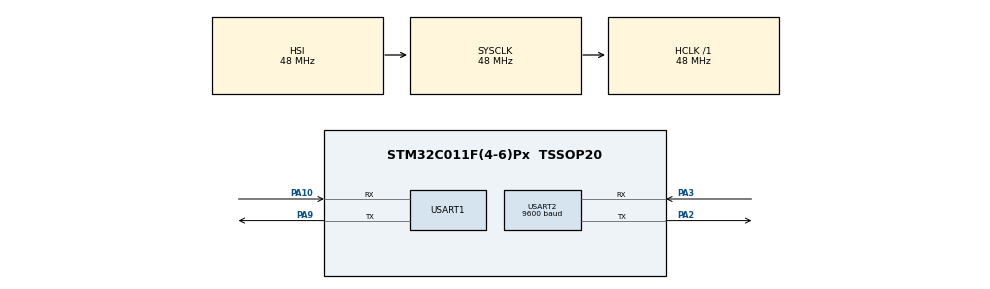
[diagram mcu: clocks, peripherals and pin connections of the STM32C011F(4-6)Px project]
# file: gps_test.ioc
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Mcu.Family=STM32C0
Mcu.Name=STM32C011F(4-6)Px
Mcu.Package=TSSOP20
NVIC.USART2_IRQn=true\:0\:0\:false\:false\:true\:true\:true\:true
PA10\ [PA12].Mode=Asynchronous
PA10\ [PA12].Signal=USART1_RX
PA13.Mode=Serial_Wire
PA13.Signal=DEBUG_SWDIO
PA14-BOOT0.Mode=Serial_Wire
PA14-BOOT0.Signal=DEBUG_SWCLK
PA2.Mode=Asynchronous
PA2.Signal=USART2_TX
PA3.Mode=Asynchronous
PA3.Signal=USART2_RX
PA9\ [PA11].Mode=Asynchronous
PA9\ [PA11].Signal=USART1_TX
ProjectManager.HeapSize=0x200
ProjectManager.StackSize=0x400
ProjectManager.TargetToolchain=STM32CubeIDE
RCC.ADCFreq_Value=48000000
RCC.AHBFreq_Value=48000000
RCC.CortexFreq_Value=48000000
RCC.EXTERNAL_CLOCK_VALUE=12288000
RCC.HCLKFreq_Value=48000000
RCC.HSE_VALUE=8000000
RCC.HSISYSCLKDivider=RCC_HSI_DIV1
RCC.HSI_VALUE=48000000
RCC.LSE_VALUE=32768
RCC.SYSCLKFreq_VALUE=48000000
USART1.VirtualMode-Asynchronous=VM_ASYNC
USART2.BaudRate=9600
USART2.VirtualMode-Asynchronous=VM_ASYNC
VP_SYS_VS_PINREMAP.Mode=PINREMAP
VP_SYS_VS_PINREMAP_10_12.Mode=PINREMAP_10_12
board=custom

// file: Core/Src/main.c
/* USER CODE BEGIN Header */
/**
  ******************************************************************************
  * @file           : main.c
  * @brief          : Main program body
  ******************************************************************************
  * @attention
  *
  * Copyright (c) 2024 STMicroelectronics.
  * All rights reserved.
  *
  * This software is licensed under terms that can be found in the LICENSE file
  * in the root directory of this software component.
  * If no LICENSE file comes with this software, it is provided AS-IS.
  *
  ******************************************************************************
  */
/* USER CODE END Header */
#include "main.h"

/* USER CODE BEGIN Includes */
#include "string.h"
#include "stdio.h"
#include "stdint.h"
/* USER CODE END Includes */

UART_HandleTypeDef huart1;
UART_HandleTypeDef huart2;

/* USER CODE BEGIN PV */
#define BUFFER_SIZE 256
uint8_t bufferRecepcao[BUFFER_SIZE]; // Buffer para armazenar dados recebidos
uint8_t dadoRecebido; // Variável para armazenar um único byte recebido
uint16_t indiceBuffer = 0; // �?ndice para o buffer de recepção
char bufferTransmissao[BUFFER_SIZE]; // Buffer para armazenar dados a serem transmitidos

typedef struct {
    uint8_t latitudeInteira; // Parte inteira da latitude
    uint8_t latitudeDecimal; // Parte decimal da latitude
    uint8_t longitudeInteira; // Parte inteira da longitude
    uint8_t longitudeDecimal; // Parte decimal da longitude
    char altitude[8]; // Altitude (tamanho ajustado para suportar a string de altitude)
} DadosGPS;

/* USER CODE END PV */

void SystemClock_Config(void);
static void MX_GPIO_Init(void);
static void MX_USART1_UART_Init(void);
static void MX_USART2_UART_Init(void);

/* USER CODE BEGIN 0 */

/* Função para analisar a sentença GPGGA do GPS e preencher a estrutura de dados */
void analisarGPGGA(char* sentenca, DadosGPS* dados) {
    char* token;
    int indiceCampo = 0;
    token = strtok(sentenca, ",");
    while (token != NULL) {
        switch (indiceCampo) {
            case 2:
                // Convertendo latitude para graus decimais
                dados->latitudeInteira = atoi(token) / 100;
                dados->latitudeDecimal = atoi(token) % 100;
                break;
            case 4:
                // Convertendo longitude para graus decimais
                dados->longitudeInteira = atoi(token) / 100;
                dados->longitudeDecimal = atoi(token) % 100;
                break;
            case 9:
                strncpy(dados->altitude, token, sizeof(dados->altitude) - 1);
                dados->altitude[sizeof(dados->altitude) - 1] = '\0'; // Assegura terminação nula
                break;
        }
        token = strtok(NULL, ",");
        indiceCampo++;
    }
}

/* Função para processar os dados do GPS */
void processarDadosGPS(char* dadosGPS) {
    if (strncmp(dadosGPS, "$GPGGA", 6) == 0) {
        DadosGPS dados;
        analisarGPGGA(dadosGPS, &dados);

        // Formata os dados para o buffer de transmissão
        sprintf(bufferTransmissao, "Latitude: %d.%d, Longitude: %d.%d, Altitude: %s\r\n",
                 dados.latitudeInteira, dados.latitudeDecimal, dados.longitudeInteira, dados.longitudeDecimal, dados.altitude);
        // Transmite os dados formatados via UART
        HAL_UART_Transmit(&huart1, (uint8_t *)bufferTransmissao, strlen(bufferTransmissao), 1000);
    }
}

/* Callback de recepção de dados UART */
void HAL_UART_RxCpltCallback(UART_HandleTypeDef *huart) {
    if (huart->Instance == USART2) {
        if (indiceBuffer < BUFFER_SIZE - 1) {
            if (dadoRecebido != '\n') { // Verifica fim de linha
                bufferRecepcao[indiceBuffer++] = dadoRecebido;
            } else {
                //bufferRecepcao[indiceBuffer++] = '\r'; // Adiciona retorno de carro
                //bufferRecepcao[indiceBuffer++] = '\n'; // Adiciona nova linha
                bufferRecepcao[indiceBuffer] = '\0';
                indiceBuffer = 0; // Reseta o índice do buffer
                //HAL_UART_Transmit(&huart1, bufferRecepcao, strlen((char*)bufferRecepcao), 1000); // Transmite a linha completa via UART
                processarDadosGPS((char*)bufferRecepcao);
            }
        }
        // Recomeça a recepção de dados
        HAL_UART_Receive_IT(&huart2, &dadoRecebido, 1); // Substitua pelo seu handler
    }
}

/* USER CODE END 0 */

int main(void)
{

  /* MCU Configuration--------------------------------------------------------*/

  /* Reset of all peripherals, Initializes the Flash interface and the Systick. */
  HAL_Init();

  /* Configure the system clock */
  SystemClock_Config();

  /* Initialize all configured peripherals */
  MX_GPIO_Init();
  MX_USART1_UART_Init();
  MX_USART2_UART_Init();
  /* USER CODE BEGIN 2 */
  HAL_UART_Receive_IT(&huart2, &dadoRecebido, 1);
  /* USER CODE END 2 */

  /* Infinite loop */
  while (1)
  {

  }
}

void SystemClock_Config(void)
{
  RCC_OscInitTypeDef RCC_OscInitStruct = {0};
  RCC_ClkInitTypeDef RCC_ClkInitStruct = {0};

  /** Initializes the RCC Oscillators according to the specified parameters
  * in the RCC_OscInitTypeDef structure.
  */
  RCC_OscInitStruct.OscillatorType = RCC_OSCILLATORTYPE_HSI;
  RCC_OscInitStruct.HSIState = RCC_HSI_ON;
  RCC_OscInitStruct.HSIDiv = RCC_HSI_DIV1;
  RCC_OscInitStruct.HSICalibrationValue = RCC_HSICALIBRATION_DEFAULT;
  if (HAL_RCC_OscConfig(&RCC_OscInitStruct) != HAL_OK)
  {
    Error_Handler();
  }

  /** Initializes the CPU, AHB and APB buses clocks
  */
  RCC_ClkInitStruct.ClockType = RCC_CLOCKTYPE_HCLK|RCC_CLOCKTYPE_SYSCLK
                              |RCC_CLOCKTYPE_PCLK1;
  RCC_ClkInitStruct.SYSCLKSource = RCC_SYSCLKSOURCE_HSI;
  RCC_ClkInitStruct.SYSCLKDivider = RCC_SYSCLK_DIV1;
  RCC_ClkInitStruct.AHBCLKDivider = RCC_HCLK_DIV1;
  RCC_ClkInitStruct.APB1CLKDivider = RCC_APB1_DIV1;

  if (HAL_RCC_ClockConfig(&RCC_ClkInitStruct, FLASH_LATENCY_1) != HAL_OK)
  {
    Error_Handler();
  }
}

static void MX_USART1_UART_Init(void)
{

  huart1.Instance = USART1;
  huart1.Init.BaudRate = 115200;
  huart1.Init.WordLength = UART_WORDLENGTH_8B;
  huart1.Init.StopBits = UART_STOPBITS_1;
  huart1.Init.Parity = UART_PARITY_NONE;
  huart1.Init.Mode = UART_MODE_TX_RX;
  huart1.Init.HwFlowCtl = UART_HWCONTROL_NONE;
  huart1.Init.OverSampling = UART_OVERSAMPLING_16;
  huart1.Init.OneBitSampling = UART_ONE_BIT_SAMPLE_DISABLE;
  huart1.Init.ClockPrescaler = UART_PRESCALER_DIV1;
  huart1.AdvancedInit.AdvFeatureInit = UART_ADVFEATURE_NO_INIT;
  if (HAL_UART_Init(&huart1) != HAL_OK)
  {
    Error_Handler();
  }
  if (HAL_UARTEx_SetTxFifoThreshold(&huart1, UART_TXFIFO_THRESHOLD_1_8) != HAL_OK)
  {
    Error_Handler();
  }
  if (HAL_UARTEx_SetRxFifoThreshold(&huart1, UART_RXFIFO_THRESHOLD_1_8) != HAL_OK)
  {
    Error_Handler();
  }
  if (HAL_UARTEx_DisableFifoMode(&huart1) != HAL_OK)
  {
    Error_Handler();
  }

}

static void MX_USART2_UART_Init(void)
{

  huart2.Instance = USART2;
  huart2.Init.BaudRate = 9600;
  huart2.Init.WordLength = UART_WORDLENGTH_8B;
  huart2.Init.StopBits = UART_STOPBITS_1;
  huart2.Init.Parity = UART_PARITY_NONE;
  huart2.Init.Mode = UART_MODE_TX_RX;
  huart2.Init.HwFlowCtl = UART_HWCONTROL_NONE;
  huart2.Init.OverSampling = UART_OVERSAMPLING_16;
  huart2.Init.OneBitSampling = UART_ONE_BIT_SAMPLE_DISABLE;
  huart2.Init.ClockPrescaler = UART_PRESCALER_DIV1;
  huart2.AdvancedInit.AdvFeatureInit = UART_ADVFEATURE_NO_INIT;
  if (HAL_UART_Init(&huart2) != HAL_OK)
  {
    Error_Handler();
  }

}

static void MX_GPIO_Init(void)
{

  /* GPIO Ports Clock Enable */
  __HAL_RCC_GPIOA_CLK_ENABLE();

}

void Error_Handler(void)
{
  __disable_irq();
  while (1)
  {
  }
}
